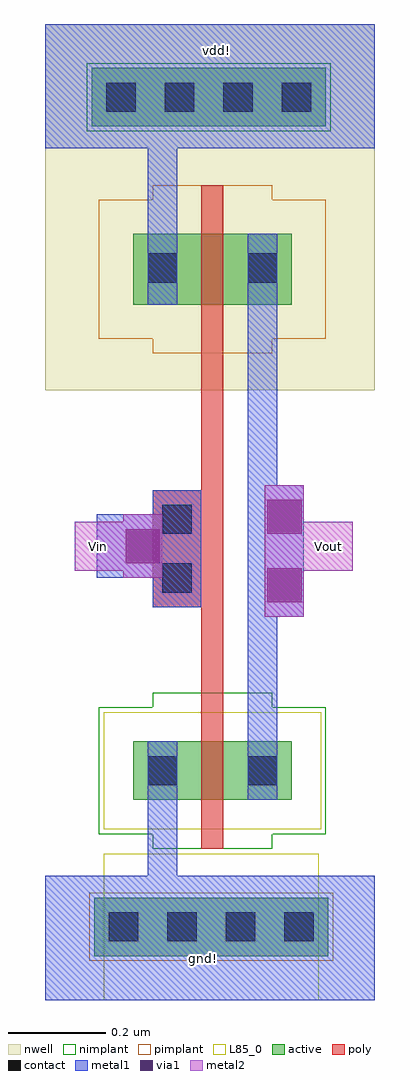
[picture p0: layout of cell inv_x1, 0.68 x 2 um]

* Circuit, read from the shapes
.subckt inv_x1 Vin Vout gnd! vdd!
M1 Vout Vin gnd! gnd! nfet w=0.12u l=0.045u
M2 Vout Vin vdd! vdd! pfet w=0.145u l=0.045u
.ends

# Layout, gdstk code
import gdstk
lib = gdstk.Library(unit=1e-6, precision=5e-10)
def R(c, l, rs):  # rectangles x0, y0, x1, y1
    for r in rs: c.add(gdstk.rectangle(r[:2], r[2:], *l))
def A(c, l, x, y, w, h, nx, ny, dx, dy):  # array of equal rectangles
    R(c, l, [(x+i*dx, y+j*dy, x+i*dx+w, y+j*dy+h) for i in range(nx) for j in range(ny)])
active = (1, 0)
nwell = (2, 0)
poly = (3, 0)
nimplant = (4, 0)
pimplant = (5, 0)
contact = (6, 0)
metal1 = (7, 0)
via1 = (8, 0)
metal2 = (9, 0)
L85_0 = (85, 0)

nmos1v_cdns_762655034220 = lib.new_cell('nmos1v_CDNS_762655034220')
R(nmos1v_cdns_762655034220, active, [(-0.14,0,0,0.12), (0,0,0.045,0.12), (0.045,0,0.185,0.12)])
R(nmos1v_cdns_762655034220, poly, [(0,-0.1,0.045,-0.05), (0,-0.05,0.045,0), (0,0,0.045,0.12), (0,0.12,0.045,0.17), (0,0.17,0.045,0.22)])
R(nmos1v_cdns_762655034220, nimplant, [(-0.1,-0.1,0.145,0.22), (-0.21,-0.07,0.255,0.19)])
R(nmos1v_cdns_762655034220, contact, [(-0.11,0.03,-0.05,0.09), (0.095,0.03,0.155,0.09)])
R(nmos1v_cdns_762655034220, metal1, [(-0.11,0,-0.05,0.12), (0.095,0,0.155,0.12)])
R(nmos1v_cdns_762655034220, L85_0, [(-0.2,-0.06,0.245,0.18)])

pmos1v_cdns_762655034221 = lib.new_cell('pmos1v_CDNS_762655034221')
R(pmos1v_cdns_762655034221, active, [(-0.14,0,0,0.145), (0,0,0.045,0.145), (0.045,0,0.185,0.145)])
R(pmos1v_cdns_762655034221, nwell, [(-0.2,-0.06,0.245,0.205)])
R(pmos1v_cdns_762655034221, poly, [(0,-0.1,0.045,-0.05), (0,-0.05,0.045,0), (0,0,0.045,0.145), (0,0.145,0.045,0.195), (0,0.195,0.045,0.245)])
R(pmos1v_cdns_762655034221, pimplant, [(-0.1,-0.1,0.145,0.245), (-0.21,-0.07,0.255,0.215)])
R(pmos1v_cdns_762655034221, contact, [(-0.11,0.045,-0.05,0.105), (0.095,0.045,0.155,0.105)])
R(pmos1v_cdns_762655034221, metal1, [(-0.11,0,-0.05,0.145), (0.095,0,0.155,0.145)])

m2_m1_cdns_762655034220 = lib.new_cell('M2_M1_CDNS_762655034220')
R(m2_m1_cdns_762655034220, metal1, [(-0.04,-0.135,0.04,0.135)])
R(m2_m1_cdns_762655034220, via1, [(-0.035,-0.105,0.035,-0.035), (-0.035,0.035,0.035,0.105)])
R(m2_m1_cdns_762655034220, metal2, [(-0.04,-0.135,0.04,0.135)])

m1_psub_cdns_76265503422 = lib.new_cell('M1_PSUB_CDNS_762655034221')
R(m1_psub_cdns_76265503422, active, [(-0.24,-0.06,0.24,0.06)])
R(m1_psub_cdns_76265503422, pimplant, [(-0.25,-0.07,0.25,0.07)])
A(m1_psub_cdns_76265503422, contact, -0.21, -0.03, 0.06, 0.06, 4, 1, 0.12, 0)
R(m1_psub_cdns_76265503422, metal1, [(-0.21,-0.06,0.21,0.06)])
R(m1_psub_cdns_76265503422, L85_0, [(-0.22,-0.15,0.22,0.15)])

m1_po_cdns_762655034222 = lib.new_cell('M1_PO_CDNS_762655034222')
R(m1_po_cdns_762655034222, poly, [(-0.05,-0.12,0.05,0.12)])
R(m1_po_cdns_762655034222, contact, [(-0.03,-0.09,0.03,-0.03), (-0.03,0.03,0.03,0.09)])
R(m1_po_cdns_762655034222, metal1, [(-0.05,-0.12,0.05,0.12)])

m2_m1_cdns_762655034223 = lib.new_cell('M2_M1_CDNS_762655034223')
R(m2_m1_cdns_762655034223, metal1, [(-0.095,-0.065,0.095,0.065)])
R(m2_m1_cdns_762655034223, via1, [(-0.035,-0.035,0.035,0.035)])
R(m2_m1_cdns_762655034223, metal2, [(-0.04,-0.065,0.04,0.065)])

m1_nwell_cdns_7626550342 = lib.new_cell('M1_NWELL_CDNS_762655034224')
R(m1_nwell_cdns_7626550342, active, [(-0.24,-0.06,0.24,0.06)])
R(m1_nwell_cdns_7626550342, nwell, [(-0.27,-0.15,0.27,0.15)])
R(m1_nwell_cdns_7626550342, nimplant, [(-0.25,-0.07,0.25,0.07)])
A(m1_nwell_cdns_7626550342, contact, -0.21, -0.03, 0.06, 0.06, 4, 1, 0.12, 0)
R(m1_nwell_cdns_7626550342, metal1, [(-0.21,-0.06,0.21,0.06)])

inv_x1 = lib.new_cell('inv_x1')
R(inv_x1, nwell, [(0,1.25,0.675,2)])
R(inv_x1, metal1, [(0,0,0.675,0.255), (0.275,0.035,0.375,0.135), (0,1.745,0.675,2), (0.3,1.895,0.4,1.995)])
R(inv_x1, metal2, [(0.06,0.88,0.16,0.98), (0.53,0.88,0.63,0.98)])
inv_x1.add(gdstk.FlexPath([(0.3425,1.325),(0.3425,0.63)], 0.045, ends="flush", simple_path=True, layer=3, datatype=0))  # poly
inv_x1.add(gdstk.FlexPath([(0.24,1.545),(0.24,1.93)], 0.06, ends=(0, 0.07), simple_path=True, layer=7, datatype=0))  # metal1
inv_x1.add(gdstk.FlexPath([(0.24,0.41),(0.24,0.07)], 0.06, ends=(0, 0.07), simple_path=True, layer=7, datatype=0))  # metal1
inv_x1.add(gdstk.FlexPath([(0.445,1.425),(0.445,0.53)], 0.06, ends="flush", simple_path=True, layer=7, datatype=0))  # metal1
inv_x1.add(gdstk.Reference(nmos1v_cdns_762655034220, (0.32,0.41)))
inv_x1.add(gdstk.Reference(pmos1v_cdns_762655034221, (0.32,1.425)))
inv_x1.add(gdstk.Reference(m2_m1_cdns_762655034220, (0.49,0.92)))
inv_x1.add(gdstk.Reference(m1_psub_cdns_76265503422, (0.34,0.15)))
inv_x1.add(gdstk.Reference(m1_po_cdns_762655034222, (0.27,0.925)))
inv_x1.add(gdstk.Reference(m2_m1_cdns_762655034223, (0.2,0.93)))
inv_x1.add(gdstk.Reference(m1_nwell_cdns_7626550342, (0.335,1.85)))
inv_x1.add(gdstk.Label('vdd!', (0.35,1.945), layer=7, texttype=0))
inv_x1.add(gdstk.Label('gnd!', (0.325,0.085), layer=7, texttype=0))
inv_x1.add(gdstk.Label('Vin', (0.11,0.93), layer=9, texttype=0))
inv_x1.add(gdstk.Label('Vout', (0.58,0.93), layer=9, texttype=0))

lib.write_gds('inv_x1.gds')
